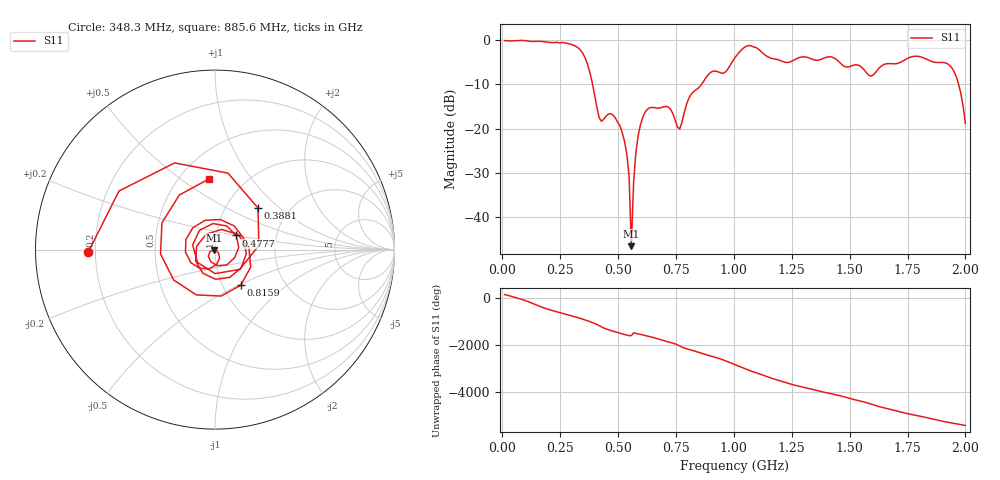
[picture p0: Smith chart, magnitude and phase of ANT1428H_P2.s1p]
!Created with skrf (http://scikit-rf.org).
# Hz S RI R 50.0
!freq ReS11 ImS11
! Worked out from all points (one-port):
!   201 points, 10 MHz to 2 GHz, reference 50 ohm
!   lowest |S11| = -46.7 dB at 557.2 MHz (marker M1), VSWR 1.01, Z = 49.6 - j0.177 ohm
!   |S11| at or under -10 dB: 389.8 MHz to 860.3 MHz (470.4 MHz wide, 75.3 % of centre); 1.971 GHz to end of sweep
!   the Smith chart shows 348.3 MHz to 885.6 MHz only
!   S11 on the Smith chart (normalised r, x): 348.3 MHz: 0.17, -0.01; 388.1 MHz: 1.40, +0.73; 477.6 MHz: 1.25, +0.20; 816 MHz: 1.22, -0.51; 885.6 MHz: 0.69, +0.65
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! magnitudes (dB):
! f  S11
! 10 MHz  -0.1
! 258.8 MHz  -0.5
! 348.3 MHz  -3.0
! 388.1 MHz  -9.5
! 427.9 MHz  -18.4
! 477.6 MHz  -16.9
! 507.5 MHz  -19.3
! 527.4 MHz  -22.8
! 547.3 MHz  -30.6
! 557.2 MHz  -46.7
! 567.2 MHz  -32.1
! 577.1 MHz  -25.3
! 607 MHz  -17.4
! 716.5 MHz  -15.1
! 756.2 MHz  -19.7
! 816 MHz  -12.2
! 885.6 MHz  -8.1
! 965.2 MHz  -7.1
! 1.005 GHz  -4.0
! 1.065 GHz  -1.2
! 1.254 GHz  -4.7
! 1.413 GHz  -3.8
! 1.502 GHz  -5.9
! 1.592 GHz  -8.1
! 1.751 GHz  -4.1
! 1.94 GHz  -6.2
! 1.97 GHz  -9.8
! 2 GHz  -18.9
